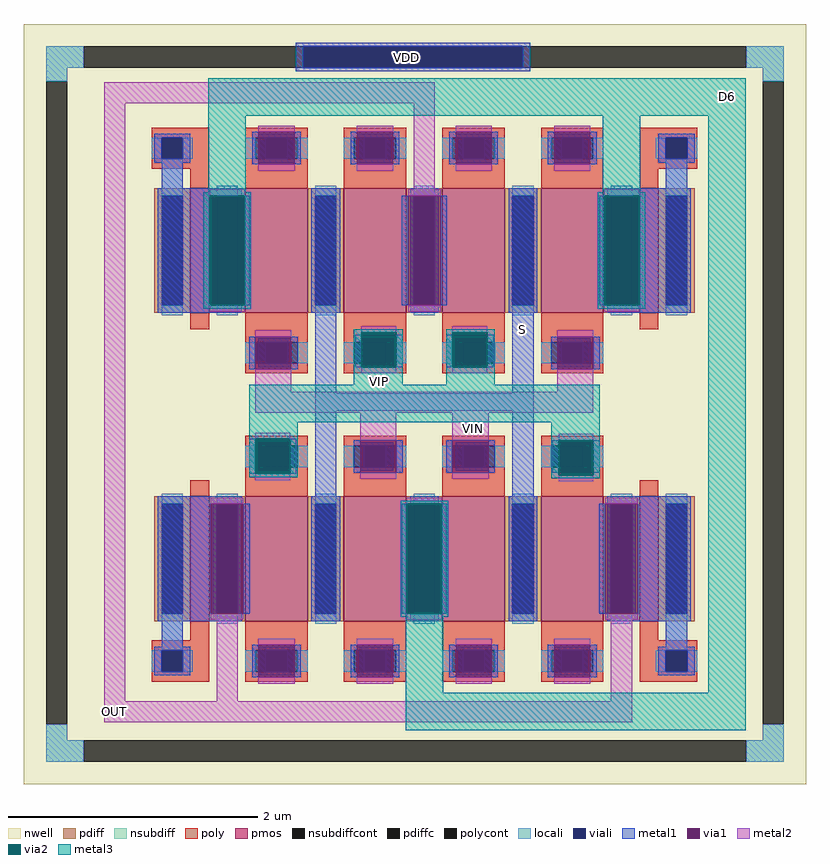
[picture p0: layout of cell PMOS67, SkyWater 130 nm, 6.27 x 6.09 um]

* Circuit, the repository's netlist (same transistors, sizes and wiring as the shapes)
* NGSPICE file created from PMOS67.ext - technology: sky130A

.subckt sky130_fd_pr__pfet_01v8_VQXX7L w_n223_n200# a_n29_n100# a_n187_n100# a_29_n197#
+ a_n129_n197# a_129_n100#
X0 a_129_n100# a_29_n197# a_n29_n100# w_n223_n200# sky130_fd_pr__pfet_01v8 ad=0.29 pd=2.58 as=0.145 ps=1.29 w=1 l=0.5
X1 a_n29_n100# a_n129_n197# a_n187_n100# w_n223_n200# sky130_fd_pr__pfet_01v8 ad=0.145 pd=1.29 as=0.29 ps=2.58 w=1 l=0.5
.ends

.subckt sky130_fd_pr__pfet_01v8_2XUZHN a_n73_n100# w_n109_n162# a_15_n100# a_n15_n126#
X0 a_15_n100# a_n15_n126# a_n73_n100# w_n109_n162# sky130_fd_pr__pfet_01v8 ad=0.29 pd=2.58 as=0.29 ps=2.58 w=1 l=0.15
.ends

.subckt PMOS67 VDD VIP VIN S OUT D6
Xsky130_fd_pr__pfet_01v8_VQXX7L_0 VDD S D6 VIP VIN OUT sky130_fd_pr__pfet_01v8_VQXX7L
Xsky130_fd_pr__pfet_01v8_VQXX7L_1 VDD S OUT VIN VIP D6 sky130_fd_pr__pfet_01v8_VQXX7L
Xsky130_fd_pr__pfet_01v8_VQXX7L_6 VDD S OUT VIN VIP D6 sky130_fd_pr__pfet_01v8_VQXX7L
Xsky130_fd_pr__pfet_01v8_VQXX7L_7 VDD S D6 VIP VIN OUT sky130_fd_pr__pfet_01v8_VQXX7L
Xsky130_fd_pr__pfet_01v8_2XUZHN_0 OUT VDD OUT OUT sky130_fd_pr__pfet_01v8_2XUZHN
Xsky130_fd_pr__pfet_01v8_2XUZHN_1 D6 VDD D6 D6 sky130_fd_pr__pfet_01v8_2XUZHN
Xsky130_fd_pr__pfet_01v8_2XUZHN_2 OUT VDD OUT OUT sky130_fd_pr__pfet_01v8_2XUZHN
Xsky130_fd_pr__pfet_01v8_2XUZHN_6 D6 VDD D6 D6 sky130_fd_pr__pfet_01v8_2XUZHN
.ends

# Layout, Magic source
magic
tech sky130A
magscale 1 2
<< nwell >>
rect -267 827 987 2045
<< nsubdiff >>
rect -231 1975 -171 2009
rect 891 1975 951 2009
rect -231 1953 -197 1975
rect 917 1953 951 1975
rect -231 897 -197 923
rect 917 897 951 923
rect -231 863 -171 897
rect 891 863 951 897
<< nsubdiffcont >>
rect -171 1975 891 2009
rect -231 923 -197 1953
rect 917 923 951 1953
rect -171 863 891 897
<< poly >>
rect -62 1863 30 1879
rect -62 1829 -46 1863
rect -12 1829 30 1863
rect -62 1813 30 1829
rect 0 1782 30 1813
rect 720 1863 812 1879
rect 720 1829 762 1863
rect 796 1829 812 1863
rect 720 1813 812 1829
rect 720 1782 750 1813
rect 0 1057 30 1088
rect -62 1041 30 1057
rect -62 1007 -46 1041
rect -12 1007 30 1041
rect -62 991 30 1007
rect 720 1057 750 1088
rect 720 1041 812 1057
rect 720 1007 762 1041
rect 796 1007 812 1041
rect 720 991 812 1007
<< polycont >>
rect -46 1829 -12 1863
rect 762 1829 796 1863
rect -46 1007 -12 1041
rect 762 1007 796 1041
<< locali >>
rect -231 1975 -171 2009
rect 891 1975 951 2009
rect -231 1953 -197 1975
rect 917 1953 951 1975
rect -62 1829 -46 1863
rect -12 1829 4 1863
rect 746 1829 762 1863
rect 796 1829 812 1863
rect -46 1782 -12 1829
rect 762 1780 796 1829
rect -46 1041 -12 1088
rect 762 1041 796 1088
rect -62 1007 -46 1041
rect -12 1007 4 1041
rect 746 1007 762 1041
rect 796 1007 812 1041
rect -231 897 -197 923
rect 917 897 951 923
rect -231 863 -171 897
rect 891 863 951 897
<< viali >>
rect 181 1975 533 2009
rect -46 1829 -12 1863
rect 762 1829 796 1863
rect -46 1007 -12 1041
rect 762 1007 796 1041
<< metal1 >>
rect 169 2009 545 2015
rect 169 1975 181 2009
rect 533 1975 545 2009
rect 169 1969 545 1975
rect -58 1863 0 1869
rect -58 1829 -46 1863
rect -12 1829 0 1863
rect -58 1823 0 1829
rect -46 1782 -12 1823
rect 99 1820 109 1872
rect 167 1820 177 1872
rect 257 1820 267 1872
rect 325 1820 335 1872
rect 415 1820 425 1872
rect 483 1820 493 1872
rect 573 1820 583 1872
rect 641 1820 651 1872
rect 750 1863 808 1869
rect 750 1829 762 1863
rect 796 1829 808 1863
rect 750 1823 808 1829
rect 762 1782 796 1823
rect -52 1770 82 1782
rect 668 1770 802 1782
rect -52 1594 33 1770
rect 85 1594 95 1770
rect -52 1582 82 1594
rect 94 1492 104 1544
rect 162 1492 172 1544
rect 200 1453 234 1770
rect 339 1594 349 1770
rect 401 1594 411 1770
rect 264 1495 274 1547
rect 330 1495 340 1547
rect 410 1495 420 1547
rect 476 1495 486 1547
rect 516 1453 550 1770
rect 655 1594 665 1770
rect 717 1594 802 1770
rect 668 1582 802 1594
rect 578 1492 588 1544
rect 646 1492 656 1544
rect 200 1425 550 1453
rect 94 1324 104 1380
rect 160 1324 170 1380
rect -52 1276 82 1288
rect -52 1100 33 1276
rect 85 1100 95 1276
rect 200 1100 234 1425
rect 262 1326 272 1378
rect 330 1326 340 1378
rect 410 1326 420 1378
rect 478 1326 488 1378
rect 339 1100 349 1276
rect 401 1100 411 1276
rect 516 1100 550 1425
rect 580 1326 590 1378
rect 646 1326 656 1378
rect 668 1276 802 1288
rect 655 1100 665 1276
rect 717 1100 802 1276
rect -52 1088 82 1100
rect 668 1088 802 1100
rect -46 1047 -12 1088
rect -58 1041 0 1047
rect -58 1007 -46 1041
rect -12 1007 0 1041
rect -58 1001 0 1007
rect 99 998 109 1050
rect 167 998 177 1050
rect 257 998 267 1050
rect 325 998 335 1050
rect 415 998 425 1050
rect 483 998 493 1050
rect 573 998 583 1050
rect 641 998 651 1050
rect 762 1047 796 1088
rect 750 1041 808 1047
rect 750 1007 762 1041
rect 796 1007 808 1041
rect 750 1001 808 1007
<< via1 >>
rect 109 1820 167 1872
rect 267 1820 325 1872
rect 425 1820 483 1872
rect 583 1820 641 1872
rect 33 1594 85 1770
rect 104 1492 162 1544
rect 349 1594 401 1770
rect 274 1495 330 1547
rect 420 1495 476 1547
rect 665 1594 717 1770
rect 588 1492 646 1544
rect 104 1324 160 1380
rect 33 1100 85 1276
rect 272 1326 330 1378
rect 420 1326 478 1378
rect 349 1100 401 1276
rect 590 1326 646 1378
rect 665 1100 717 1276
rect 109 998 167 1050
rect 267 998 325 1050
rect 425 998 483 1050
rect 583 998 641 1050
<< metal2 >>
rect -138 1918 392 1952
rect -138 960 -104 1918
rect 109 1872 167 1882
rect 109 1810 167 1820
rect 267 1872 325 1882
rect 267 1810 325 1820
rect 358 1780 392 1918
rect 425 1872 483 1882
rect 425 1810 483 1820
rect 583 1872 641 1882
rect 583 1810 641 1820
rect 31 1770 87 1780
rect 31 1584 87 1594
rect 349 1770 401 1780
rect 349 1584 401 1594
rect 663 1770 719 1780
rect 663 1584 719 1594
rect 104 1544 162 1554
rect 104 1456 162 1492
rect 274 1551 330 1561
rect 274 1485 330 1495
rect 420 1551 476 1561
rect 420 1485 476 1495
rect 588 1544 646 1554
rect 588 1456 646 1492
rect 104 1422 646 1456
rect 104 1380 160 1390
rect 104 1314 160 1324
rect 272 1378 330 1422
rect 272 1316 330 1326
rect 420 1378 478 1422
rect 420 1316 478 1326
rect 590 1378 646 1388
rect 590 1312 646 1322
rect 33 1276 85 1286
rect 33 1090 85 1100
rect 347 1276 403 1286
rect 347 1090 403 1100
rect 665 1276 717 1286
rect 665 1090 717 1100
rect 42 960 76 1090
rect 109 1050 167 1060
rect 109 988 167 998
rect 267 1050 325 1060
rect 267 988 325 998
rect 425 1050 483 1060
rect 425 988 483 998
rect 583 1050 641 1060
rect 583 988 641 998
rect 674 960 708 1090
rect -138 926 708 960
<< via2 >>
rect 31 1594 33 1770
rect 33 1594 85 1770
rect 85 1594 87 1770
rect 663 1594 665 1770
rect 665 1594 717 1770
rect 717 1594 719 1770
rect 274 1547 330 1551
rect 274 1495 330 1547
rect 420 1547 476 1551
rect 420 1495 476 1547
rect 104 1324 160 1380
rect 590 1326 646 1378
rect 590 1322 646 1326
rect 347 1100 349 1276
rect 349 1100 401 1276
rect 401 1100 403 1276
<< metal3 >>
rect 29 1898 890 1958
rect 29 1775 89 1898
rect 661 1775 721 1898
rect 21 1770 97 1775
rect 21 1594 31 1770
rect 87 1594 97 1770
rect 21 1589 97 1594
rect 653 1770 729 1775
rect 653 1594 663 1770
rect 719 1594 729 1770
rect 653 1589 729 1594
rect 262 1551 340 1556
rect 262 1495 274 1551
rect 330 1495 340 1551
rect 262 1467 340 1495
rect 410 1551 488 1556
rect 410 1495 420 1551
rect 476 1495 488 1551
rect 410 1467 488 1495
rect 94 1407 656 1467
rect 94 1380 172 1407
rect 94 1324 104 1380
rect 160 1324 172 1380
rect 94 1319 172 1324
rect 578 1378 656 1407
rect 578 1322 590 1378
rect 646 1322 656 1378
rect 578 1317 656 1322
rect 337 1276 413 1281
rect 337 1100 347 1276
rect 403 1100 413 1276
rect 337 1095 413 1100
rect 345 973 405 1095
rect 830 973 890 1898
rect 345 913 890 973
use sky130_fd_pr__pfet_01v8_2XUZHN  sky130_fd_pr__pfet_01v8_2XUZHN_0
transform 1 0 15 0 1 1188
box -109 -162 109 162
use sky130_fd_pr__pfet_01v8_2XUZHN  sky130_fd_pr__pfet_01v8_2XUZHN_1
transform 1 0 735 0 1 1682
box -109 -162 109 162
use sky130_fd_pr__pfet_01v8_2XUZHN  sky130_fd_pr__pfet_01v8_2XUZHN_2
transform 1 0 735 0 1 1188
box -109 -162 109 162
use sky130_fd_pr__pfet_01v8_2XUZHN  sky130_fd_pr__pfet_01v8_2XUZHN_6
transform 1 0 15 0 1 1682
box -109 -162 109 162
use sky130_fd_pr__pfet_01v8_VQXX7L  sky130_fd_pr__pfet_01v8_VQXX7L_0
transform 1 0 533 0 1 1188
box -223 -200 223 200
use sky130_fd_pr__pfet_01v8_VQXX7L  sky130_fd_pr__pfet_01v8_VQXX7L_1
transform 1 0 533 0 1 1682
box -223 -200 223 200
use sky130_fd_pr__pfet_01v8_VQXX7L  sky130_fd_pr__pfet_01v8_VQXX7L_6
transform 1 0 217 0 1 1188
box -223 -200 223 200
use sky130_fd_pr__pfet_01v8_VQXX7L  sky130_fd_pr__pfet_01v8_VQXX7L_7
transform 1 0 217 0 1 1682
box -223 -200 223 200
<< labels >>
flabel viali 347 1992 347 1992 0 FreeSans 320 0 0 0 VDD
port 3 nsew
flabel metal3 303 1472 303 1472 0 FreeSans 320 0 0 0 VIP
port 4 nsew
flabel metal2 454 1397 454 1397 0 FreeSans 320 0 0 0 VIN
port 5 nsew
flabel metal1 533 1556 533 1556 0 FreeSans 320 0 0 0 S
port 6 nsew
flabel metal2 -121 943 -121 943 0 FreeSans 320 0 0 0 OUT
port 12 nsew
flabel metal3 861 1929 861 1929 0 FreeSans 320 0 0 0 D6
port 14 nsew
<< end >>

# cell sky130_fd_pr__pfet_01v8_2XUZHN: kit device sky130_fd_pr__pfet_01v8, w 1 l 0.15 m 1 nf 1 diffcov 100 polycov 100 guard 0 glc 1 grc 1 gtc 1 gbc 1 tbcov 100 rlcov 100 topc 0 botc 0 poverlap 0 doverlap 1 lmin 0.15 wmin 0.42 compatible {sky130_fd_pr__pfet_01v8 sky130_fd_pr__pfet_01v8_lvt sky130_fd_pr__pfet_01v8_hvt sky130_fd_pr__pfet_g5v0d10v5} full_metal 1 viasrc 100 viadrn 100 viagate 100 viagb 0 viagr 0 viagl 0 viagt 0

# cell sky130_fd_pr__pfet_01v8_VQXX7L: kit device sky130_fd_pr__pfet_01v8, w 1 l 0.5 m 1 nf 2 diffcov 100 polycov 100 guard 0 glc 1 grc 1 gtc 1 gbc 1 tbcov 100 rlcov 100 topc 1 botc 1 poverlap 0 doverlap 1 lmin 0.15 wmin 0.42 compatible {sky130_fd_pr__pfet_01v8 sky130_fd_pr__pfet_01v8_lvt sky130_fd_pr__pfet_01v8_hvt sky130_fd_pr__pfet_g5v0d10v5} full_metal 1 viasrc 100 viadrn 100 viagate 50 viagb 0 viagr 0 viagl 0 viagt 0
